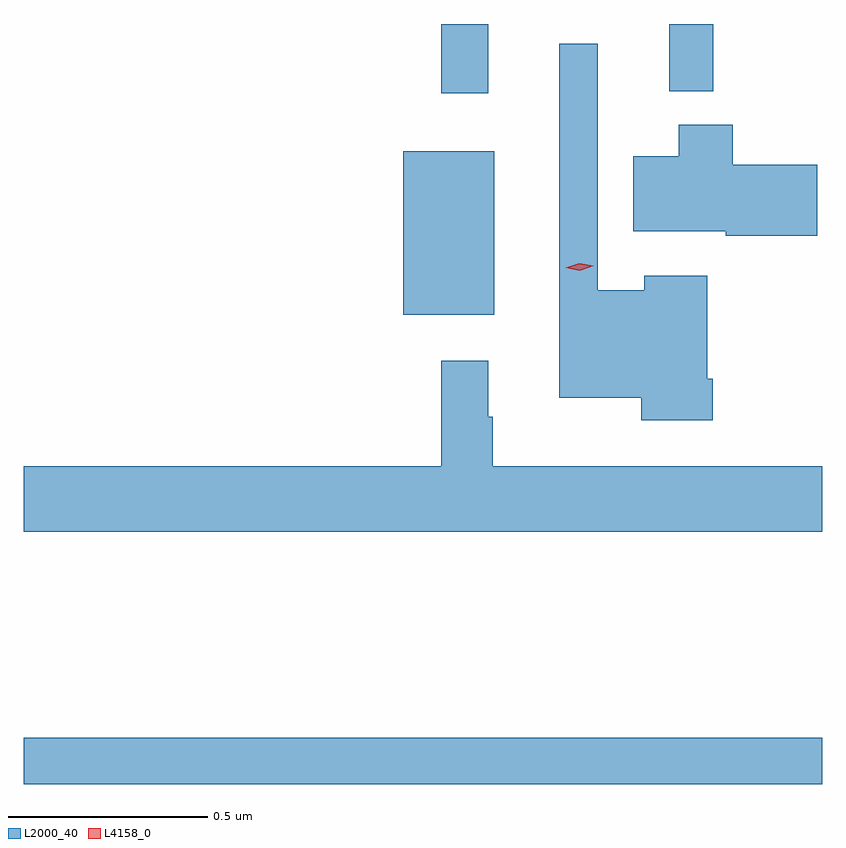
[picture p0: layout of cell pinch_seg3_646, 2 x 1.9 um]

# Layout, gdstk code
import gdstk
lib = gdstk.Library(unit=1e-6, precision=1e-09)
def R(c, l, rs):  # rectangles x0, y0, x1, y1
    for r in rs: c.add(gdstk.rectangle(r[:2], r[2:], *l))
def P(c, l, *ps):  # polygons
    for p in ps: c.add(gdstk.Polygon(p, *l))
L2000_40 = (2000, 40)
L4158_0 = (4158, 0)

pinch_seg3_646 = lib.new_cell('pinch_seg3_646')
R(pinch_seg3_646, L2000_40, [(1049.951,681.636,1051.951,681.752), (1050.902,682.811,1051.129,683.221), (1050.997,683.367,1051.115,683.54), (1051.568,683.372,1051.678,683.54)])
P(pinch_seg3_646, L2000_40, [(1051.677,682.651),(1051.663,682.651),(1051.663,682.909),(1051.505,682.909),(1051.505,682.873),(1051.389,682.873),(1051.389,683.491),(1051.292,683.491),(1051.292,682.604),(1051.498,682.604),(1051.498,682.547),(1051.677,682.547)],
  [(1051.939,683.187),(1051.727,683.187),(1051.727,683.287),(1051.592,683.287),(1051.592,683.209),(1051.478,683.209),(1051.478,683.021),(1051.71,683.021),(1051.71,683.009),(1051.939,683.009)],
  [(1051.951,682.432),(1051.126,682.432),(1051.126,682.556),(1051.114,682.556),(1051.114,682.696),(1050.997,682.696),(1050.997,682.432),(1049.951,682.432),(1049.951,682.268),(1051.951,682.268)])
P(pinch_seg3_646, L4158_0, [(1051.344,682.922),(1051.308,682.929),(1051.308,682.929),(1051.308,682.929),(1051.342,682.941),(1051.379,682.934),(1051.379,682.934),(1051.379,682.934)])

lib.write_gds('pinch_seg3_646.gds')
